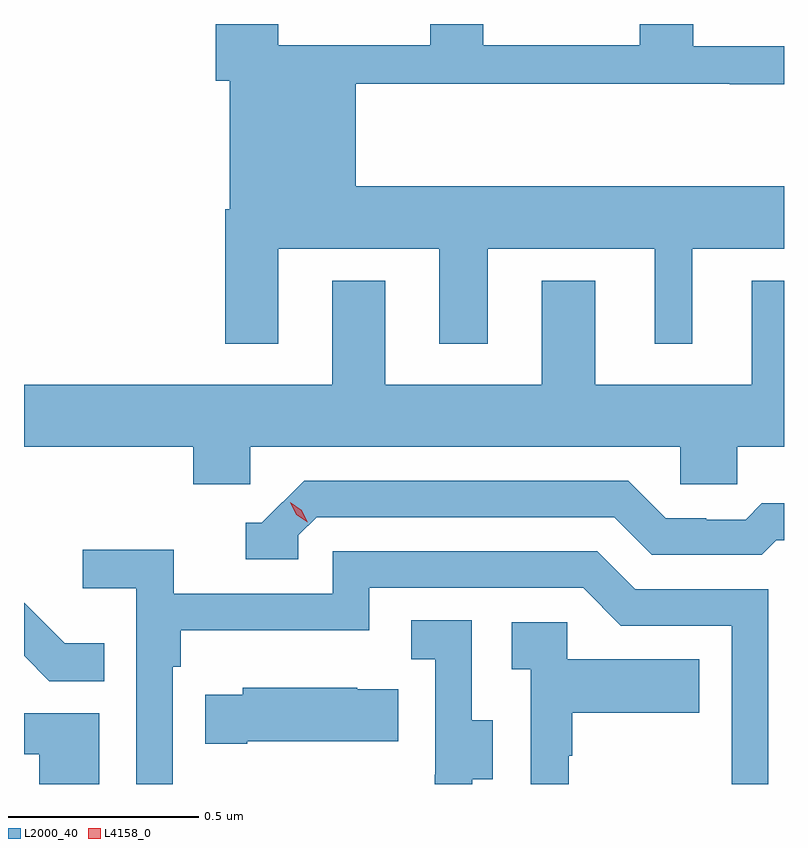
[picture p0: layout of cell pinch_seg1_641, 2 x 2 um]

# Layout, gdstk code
import gdstk
lib = gdstk.Library(unit=1e-6, precision=1e-09)
def P(c, l, *ps):  # polygons
    for p in ps: c.add(gdstk.Polygon(p, *l))
L2000_40 = (2000, 40)
L4158_0 = (4158, 0)

pinch_seg1_641 = lib.new_cell('pinch_seg1_641')
P(pinch_seg1_641, L2000_40, [(1128.343,512.294),(1128.767,512.294),(1128.767,512.043),(1128.895,512.043),(1128.895,512.294),(1129.334,512.294),(1129.334,512.043),(1129.432,512.043),(1129.432,512.294),(1129.674,512.294),(1129.674,512.458),(1128.547,512.458),(1128.547,512.728),(1129.531,512.728),(1129.531,512.726),(1129.674,512.726),(1129.674,512.826),(1129.435,512.826),(1129.435,512.885),(1129.295,512.885),(1129.295,512.829),(1128.883,512.829),(1128.883,512.885),(1128.743,512.885),(1128.743,512.829),(1128.343,512.829),(1128.343,512.885),(1128.179,512.885),(1128.179,512.736),(1128.215,512.736),(1128.215,512.398),(1128.203,512.398),(1128.203,512.043),(1128.343,512.043)],
  [(1128.27,511.772),(1129.401,511.772),(1129.401,511.674),(1129.551,511.674),(1129.551,511.772),(1129.674,511.772),(1129.674,512.209),(1129.589,512.209),(1129.589,511.936),(1129.177,511.936),(1129.177,512.209),(1129.037,512.209),(1129.037,511.936),(1128.625,511.936),(1128.625,512.209),(1128.485,512.209),(1128.485,511.936),(1127.674,511.936),(1127.674,511.772),(1128.119,511.772),(1128.119,511.674),(1128.27,511.674)],
  [(1128.396,511.539),(1128.444,511.587),(1129.227,511.587),(1129.326,511.488),(1129.615,511.488),(1129.654,511.527),(1129.674,511.527),(1129.674,511.624),(1129.615,511.624),(1129.573,511.581),(1129.47,511.581),(1129.47,511.584),(1129.363,511.584),(1129.264,511.683),(1128.411,511.683),(1128.3,511.572),(1128.257,511.572),(1128.257,511.476),(1128.396,511.476)],
  [(1128.066,511.193),(1128.086,511.193),(1128.086,511.289),(1128.582,511.289),(1128.582,511.401),(1129.146,511.401),(1129.245,511.302),(1129.536,511.302),(1129.536,510.885),(1129.632,510.885),(1129.632,511.398),(1129.282,511.398),(1129.183,511.497),(1128.486,511.497),(1128.486,511.386),(1128.068,511.386),(1128.068,511.502),(1127.829,511.502),(1127.829,511.4),(1127.97,511.4),(1127.97,510.885),(1128.066,510.885)],
  [(1127.885,511.255),(1127.781,511.255),(1127.674,511.362),(1127.674,511.223),(1127.741,511.156),(1127.885,511.156)],
  [(1128.853,510.898),(1128.907,510.898),(1128.907,511.053),(1128.852,511.053),(1128.852,511.316),(1128.693,511.316),(1128.693,511.213),(1128.756,511.213),(1128.756,510.909),(1128.755,510.909),(1128.755,510.885),(1128.853,510.885)],
  [(1129.107,510.959),(1129.117,510.959),(1129.117,511.073),(1129.451,511.073),(1129.451,511.213),(1129.104,511.213),(1129.104,511.311),(1128.957,511.311),(1128.957,511.187),(1129.008,511.187),(1129.008,510.885),(1129.107,510.885)],
  [(1128.262,510.998),(1128.659,510.998),(1128.659,511.135),(1128.551,511.135),(1128.551,511.138),(1128.249,511.138),(1128.249,511.12),(1128.151,511.12),(1128.151,510.991),(1128.262,510.991)],
  [(1127.872,511.071),(1127.674,511.071),(1127.674,510.963),(1127.714,510.963),(1127.714,510.885),(1127.872,510.885)])
P(pinch_seg1_641, L4158_0, [(1128.421,511.574),(1128.39,511.593),(1128.374,511.625),(1128.374,511.626),(1128.374,511.626),(1128.405,511.606),(1128.421,511.574),(1128.421,511.574)])

lib.write_gds('pinch_seg1_641.gds')
